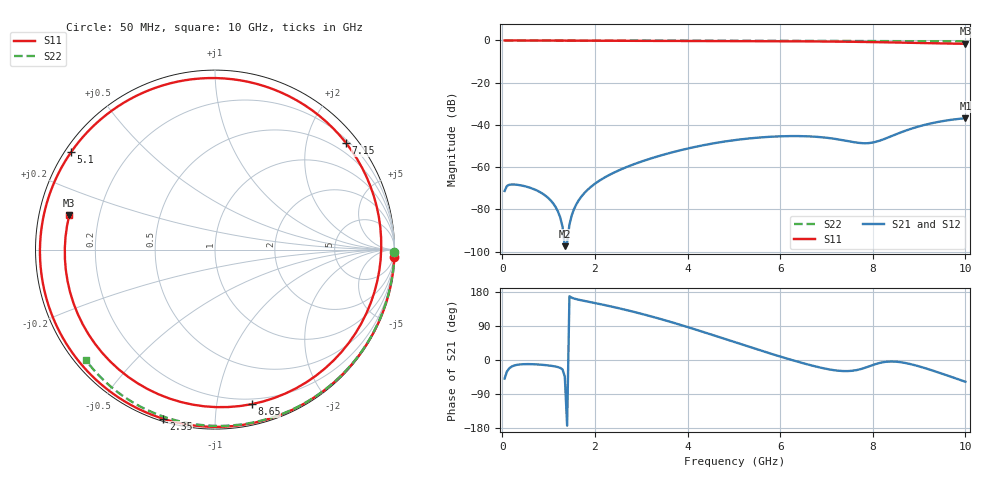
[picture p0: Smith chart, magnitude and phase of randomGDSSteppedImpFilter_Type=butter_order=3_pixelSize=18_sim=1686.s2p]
! freq	dB(S11)	phase(S11)	dB(S12)	phase(S12)
!  dB(S21)	phase(S21)	dB(S22)	phase(S22)
!S-par simulation data
#  GHz  S  DB  R 50
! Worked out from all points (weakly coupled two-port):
!   200 points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, 50 MHz to 10 GHz, reference 50 ohm
!   highest |S21| = -36.80 dB at 10 GHz (marker M1); lowest = -97.4 dB at 1.35 GHz (marker M2)
!   lowest |S11| = -1.6 dB at 10 GHz (marker M3), VSWR 11.07, Z = 4.58 + j5.76 ohm
!   |S11| at or under -10 dB: nowhere
!   |S22| runs from -0.5 to 0.0 dB; largest |S21 - S12| = 0
!   S11 on the Smith chart (normalised r, x): 50 MHz: 0, -46; 2.35 GHz: 0.01, -0.74; 5.1 GHz: 0.02, +0.31; 7.15 GHz: 0.27, +2.79; 8.65 GHz: 0.16, -1.25; 10 GHz: 0.09, +0.12
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0.05  -0.00 -2.5  -71.25 -49.1  -71.25 -49.1  -0.00 -0.8
0.15  -0.00 -7.4  -68.32 -22.0  -68.32 -22.0  -0.00 -2.4
0.55  -0.03 -26.9  -69.37 -10.8  -69.37 -10.8  -0.01 -8.9
0.9  -0.05 -43.6  -72.96 -13.1  -72.96 -13.1  -0.02 -14.5
1.2  -0.07 -57.5  -80.87 -18.7  -80.87 -18.7  -0.02 -19.3
1.35  -0.08 -64.3  -97.38 -43.9  -97.38 -43.9  -0.03 -21.6
1.55  -0.09 -73.2  -79.78 162.2  -79.78 162.2  -0.03 -24.8
1.75  -0.10 -81.9  -72.79 156.5  -72.79 156.5  -0.04 -27.9
2.35  -0.13 -106.9  -63.22 141.3  -63.22 141.3  -0.05 -37.2
3.4  -0.17 -147.9  -54.59 108.8  -54.59 108.8  -0.07 -53.1
4.25  -0.22 179.8  -49.99 77.5  -49.99 77.5  -0.09 -65.5
5.05  -0.27 148.0  -47.08 45.8  -47.08 45.8  -0.12 -76.7
5.1  -0.28 145.9  -46.95 43.8  -46.95 43.8  -0.12 -77.4
6  -0.36 105.1  -45.38 9.1  -45.38 9.1  -0.16 -89.5
6.7  -0.45 67.3  -45.49 -15.1  -45.49 -15.1  -0.19 -98.7
7.15  -0.53 39.2  -46.48 -26.7  -46.48 -26.7  -0.22 -104.5
7.75  -0.68 -3.4  -48.59 -23.7  -48.59 -23.7  -0.26 -112.0
8.35  -0.92 -51.3  -45.77 -4.1  -45.77 -4.1  -0.31 -119.4
8.65  -1.06 -76.7  -43.16 -6.7  -43.16 -6.7  -0.33 -123.1
9  -1.23 -107.0  -40.66 -16.8  -40.66 -16.8  -0.36 -127.4
9.4  -1.41 -141.9  -38.61 -32.2  -38.61 -32.2  -0.41 -132.3
10  -1.57 166.7  -36.80 -57.4  -36.80 -57.4  -0.47 -139.5
